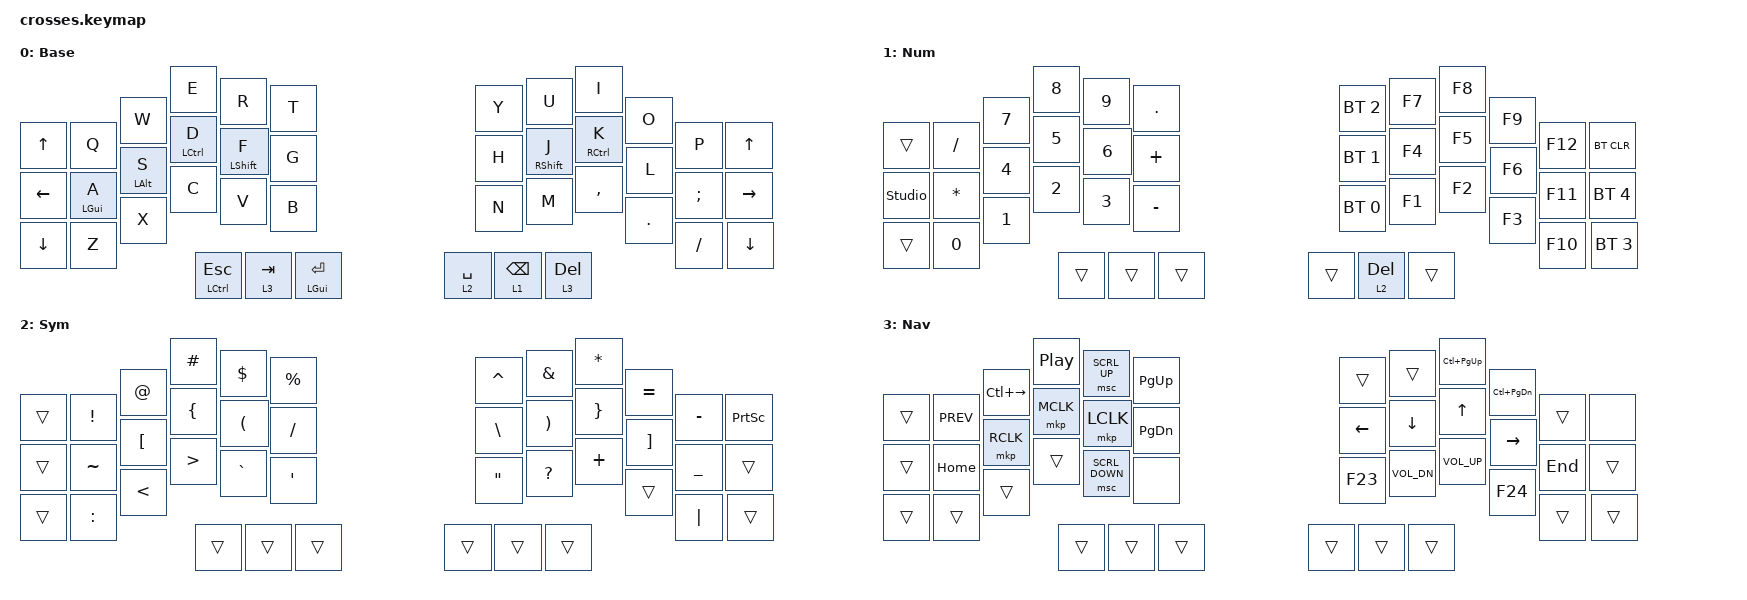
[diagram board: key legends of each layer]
/*
 * Copyright (c) 2020 The ZMK Contributors
 *
 * SPDX-License-Identifier: MIT
 */

#define ZMK_POINTING_DEFAULT_SCRL_VAL 10

#include <behaviors.dtsi>
#include <dt-bindings/zmk/bt.h>
#include <dt-bindings/zmk/keys.h>
#include <dt-bindings/zmk/pointing.h>

#define NAV_LAYER 1
#define SYM_LAYER 2
#define SYSTEM_LAYER 3

// ms timings for homerow mods for each side

#define HOMEROW_TAPPING_TERM 280
#define HOMEROW_QUICK_TAP 150 // ca. 10500/(relaxed typing speed)

&sk {
    release-after-ms = <600>;// release after 0.6s
    quick-release;// no double capitalization when rolling keys
};

&sl {
    ignore-modifiers;// allow chording sticky mods & layers
};

&lt {
    flavor = "balanced";
    tapping-term-ms = <200>;
    quick-tap-ms = <HOMEROW_QUICK_TAP>;
};

&caps_word { /delete-property/ ignore-modifiers; };

/ {
    chosen { zmk,physical-layout = &gggw_crosses_42_layout; };

    behaviors {
        ht: holdtap {
            compatible = "zmk,behavior-hold-tap";
            label = "THUMB_HOLD_TAPS";
            #binding-cells = <2>;
            tapping-term-ms = <300>;
            flavor = "balanced";
            global-quick-tap;
            quick-tap-ms = <0>;
            bindings = <&kp>, <&kp>;
        };

        hml: homerow_mods_left {
            compatible = "zmk,behavior-hold-tap";
            label = "HOMEROW_MODS_LEFT";
            #binding-cells = <2>;
            tapping-term-ms = <200>;
            quick-tap-ms = <175>;
            global-quick-tap;
            flavor = "tap-preferred";
            bindings = <&kp>, <&kp>;

            hold-trigger-on-release;
            hold-trigger-key-positions = <0 1 2 3 4 5 12 13 14 15 16 17 24 25 26 27 28 29 36 37 38 39 41 40>;
            require-prior-idle-ms = <75>;
        };

        hmr: homerow_mods_right {
            compatible = "zmk,behavior-hold-tap";
            label = "HOMEROW_MODS_RIGHT";
            #binding-cells = <2>;
            tapping-term-ms = <200>;
            quick-tap-ms = <175>;
            global-quick-tap;
            flavor = "tap-preferred";
            bindings = <&kp>, <&kp>;

            hold-trigger-on-release;
            require-prior-idle-ms = <75>;
            hold-trigger-key-positions = <6 7 8 9 10 11 18 19 20 21 22 23 30 31 32 33 34 35 39 40 41 36 37 38>;
        };

        // tap -> sticky shift | shift + tap or double tap -> caps-word | hold -> shift

        smart_shft: smart_shft {
            compatible = "zmk,behavior-mod-morph";
            label = "SMART_SHIFT";
            #binding-cells = <0>;
            bindings = <&sk LSHFT>, <&caps_word>;

            mods = <(MOD_LSFT|MOD_RSFT)>;
        };

        gqt: global-quick-tap {
            compatible = "zmk,behavior-hold-tap";
            label = "GLOBAL_QUICK_TAP";
            #binding-cells = <2>;
            flavor = "tap-preferred";
            tapping-term-ms = <200>;
            quick-tap-ms = <125>;
            global-quick-tap;
            bindings = <&kp>, <&kp>;
        };

        // tap or hold -> LALT | double tap -> Caps Lock

        alt_caps: alt_caps {
            compatible = "zmk,behavior-tap-dance";
            label = "ALT_CAPS";
            #binding-cells = <0>;
            tapping-term-ms = <50>;
            bindings = <&kp LALT>, <&kp CAPS>;
        };
    };

    combos { compatible = "zmk,combos"; };

    keymap {
        compatible = "zmk,keymap";

        Base {
            display-name = "Base";
            bindings = <
&kp UP    &kp Q        &kp W            &kp E          &kp R              &kp T               &kp Y        &kp U               &kp I         &kp O    &kp P     &kp UP
&kp LEFT  &hml LGUI A  &hml LEFT_ALT S  &hml LCTRL D   &hml LEFT_SHIFT F  &kp G               &kp H        &hmr RIGHT_SHIFT J  &hmr RCTRL K  &kp L    &kp SEMI  &kp RIGHT
&kp DOWN  &kp Z        &kp X            &kp C          &kp V              &kp B               &kp N        &kp M               &kp COMMA     &kp DOT  &kp FSLH  &kp DOWN
                                        &ht LCTRL ESC  &lt 3 TAB          &ht LEFT_GUI ENTER  &lt 2 SPACE  &lt 1 BACKSPACE     &lt 3 DEL
            >;
        };

        Num {
            display-name = "Num";
            bindings = <
&trans          &kp FSLH  &kp N7  &kp N8  &kp N9  &kp DOT    &bt BT_SEL 2  &kp F7     &kp F8  &kp F9  &kp F12  &bt BT_CLR
&studio_unlock  &kp STAR  &kp N4  &kp N5  &kp N6  &kp PLUS   &bt BT_SEL 1  &kp F4     &kp F5  &kp F6  &kp F11  &bt BT_SEL 4
&trans          &kp N0    &kp N1  &kp N2  &kp N3  &kp MINUS  &bt BT_SEL 0  &kp F1     &kp F2  &kp F3  &kp F10  &bt BT_SEL 3
                                  &trans  &trans  &trans     &trans        &lt 2 DEL  &trans
            >;
        };

        Sym {
            display-name = "Sym";
            bindings = <
&trans  &kp EXCL   &kp AT    &kp HASH  &kp DOLLAR  &kp PRCNT  &kp CARET  &kp AMPS   &kp STAR  &kp EQUAL  &kp MINUS  &kp PRINTSCREEN
&trans  &kp TILDE  &kp LBKT  &kp LBRC  &kp LPAR    &kp FSLH   &kp BSLH   &kp RPAR   &kp RBRC  &kp RBKT   &kp UNDER  &trans
&trans  &kp COLON  &kp LT    &kp GT    &kp GRAVE   &kp SQT    &kp DQT    &kp QMARK  &kp PLUS  &trans     &kp PIPE   &trans
                             &trans    &trans      &trans     &trans     &trans     &trans
            >;
        };

        Nav {
            display-name = "Nav";
            bindings = <
&trans  &kp C_PREV  &kp LC(RIGHT)  &kp C_PP   &msc SCRL_UP    &kp PG_UP      &trans    &trans        &kp LC(PG_UP)  &kp LC(PG_DN)  &trans   &none
&trans  &kp HOME    &mkp RCLK      &mkp MCLK  &mkp LCLK       &kp PAGE_DOWN  &kp LEFT  &kp DOWN      &kp UP         &kp RIGHT      &kp END  &trans
&trans  &trans      &trans         &trans     &msc SCRL_DOWN  &none          &kp F23   &kp C_VOL_DN  &kp C_VOL_UP   &kp F24        &trans   &trans
                                   &trans     &trans          &trans         &trans    &trans        &trans
            >;
        };
    };
};
